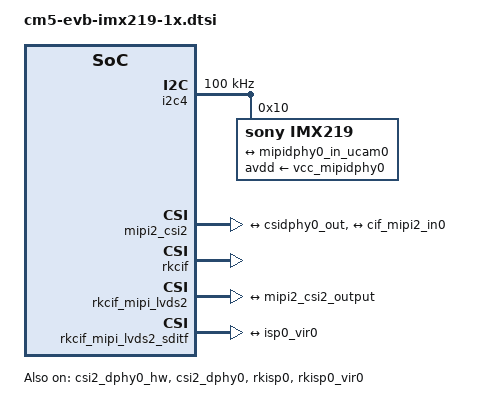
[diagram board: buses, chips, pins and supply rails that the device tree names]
// SPDX-License-Identifier: (GPL-2.0+ OR MIT)
/*
 * Copyright (c) 2021 Rockchip Electronics Co., Ltd.
 *
 */
 
 /*mipi csi*/
&i2c4 {
	status = "okay";
	pinctrl-names = "default";
	pinctrl-0 = <&i2c4m3_xfer>;
	clock-frequency = <100000>;
	imx219: imx219@10 {
		compatible = "sony,imx219";
		status = "okay";
		reg = <0x10>;
		clocks = <&cru CLK_MIPI_CAMARAOUT_M0>;
		clock-names = "xvclk";
		pinctrl-names = "default";
		pinctrl-0 = <&mipim0_camera4_clk>;
		power-domains = <&power RK3588_PD_VI>;
		avdd-supply = <&vcc_mipidphy0>;
		rockchip,camera-module-index = <1>;//<0>
		rockchip,camera-module-facing =  "front";//"back";
		rockchip,camera-module-name = "GEIR180089";
		rockchip,camera-module-lens-name = "LG500627G";
		port {
			imx219_out: endpoint {
				remote-endpoint = <&mipidphy0_in_ucam0>;
				data-lanes = <1 2>;
			};
		};
	};

};

&csi2_dphy0_hw {
	status = "okay";
};

&csi2_dphy0 {
	status = "okay";

	ports {
		#address-cells = <1>;
		#size-cells = <0>;
		port@0 {
			reg = <0>;
			#address-cells = <1>;
			#size-cells = <0>;

			mipidphy0_in_ucam0: endpoint@1 {
				reg = <1>;
				remote-endpoint = <&imx219_out>;
				data-lanes = <1 2>;
			};

		};
		port@1 {
			reg = <1>;
			#address-cells = <1>;
			#size-cells = <0>;

			csidphy0_out: endpoint@0 {
				reg = <0>;
				remote-endpoint = <&mipi2_csi2_input>;
			};
		};
	};
};

&mipi2_csi2 {
	status = "okay";

	ports {
		#address-cells = <1>;
		#size-cells = <0>;

		port@0 {
			reg = <0>;
			#address-cells = <1>;
			#size-cells = <0>;

			mipi2_csi2_input: endpoint@1 {
				reg = <1>;
				remote-endpoint = <&csidphy0_out>;
			};
		};

		port@1 {
			reg = <1>;
			#address-cells = <1>;
			#size-cells = <0>;

			mipi2_csi2_output: endpoint@0 {
				reg = <0>;
				remote-endpoint = <&cif_mipi2_in0>;
			};
		};
	};
};

&rkcif {
	status = "okay";
};

&rkcif_mipi_lvds2 {
	status = "okay";

	port {
		cif_mipi2_in0: endpoint {
			remote-endpoint = <&mipi2_csi2_output>;
		};
	};
};

&rkcif_mipi_lvds2_sditf {
	status = "okay";

	port {
		mipi_lvds2_sditf: endpoint {
			remote-endpoint = <&isp0_vir0>;
		};
	};
};


&rkcif_mmu {
        status = "okay";
};

&rkisp0 {
	status = "okay";
};

&isp0_mmu {
	status = "okay";
};

&rkisp0_vir0 {
	status = "okay";

	port {
		#address-cells = <1>;
		#size-cells = <0>;

		isp0_vir0: endpoint@0 {
			reg = <0>;
			remote-endpoint = <&mipi_lvds2_sditf>;
		};
	};
};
